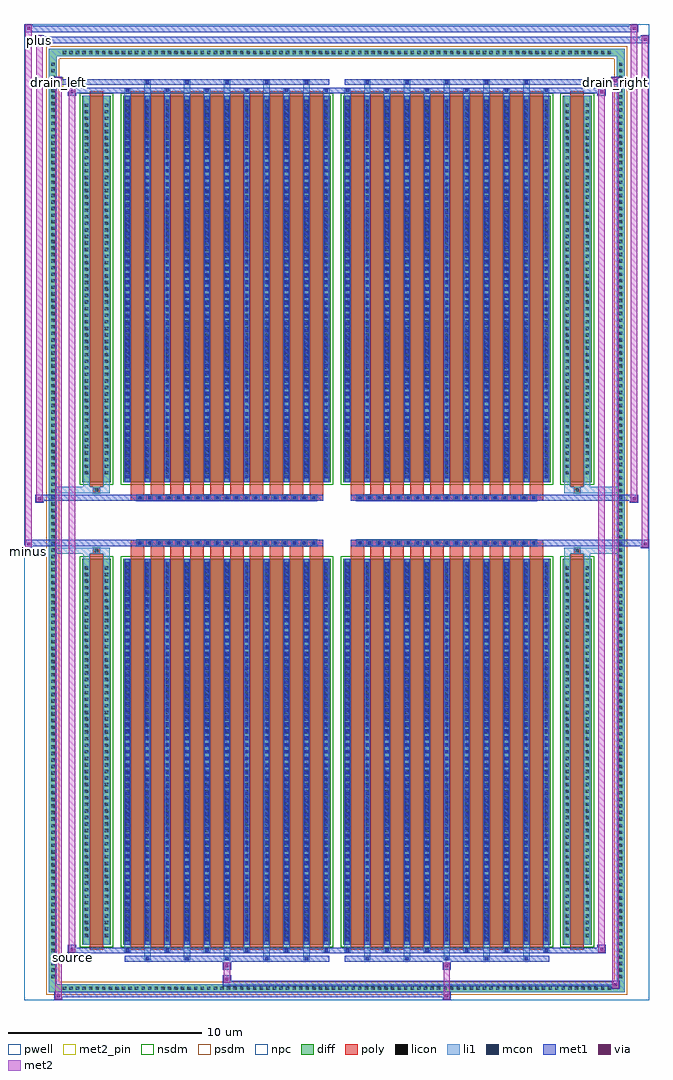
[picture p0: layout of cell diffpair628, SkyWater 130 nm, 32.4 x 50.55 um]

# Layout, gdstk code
import gdstk
lib = gdstk.Library(unit=1e-6, precision=5e-09)
def R(c, l, rs):  # rectangles x0, y0, x1, y1
    for r in rs: c.add(gdstk.rectangle(r[:2], r[2:], *l))
def A(c, l, x, y, w, h, nx, ny, dx, dy):  # array of equal rectangles
    R(c, l, [(x+i*dx, y+j*dy, x+i*dx+w, y+j*dy+h) for i in range(nx) for j in range(ny)])
def P(c, l, *ps):  # polygons
    for p in ps: c.add(gdstk.Polygon(p, *l))
pwell = (64, 44)
diff = (65, 20)
poly = (66, 20)
licon = (66, 44)
li1 = (67, 20)
mcon = (67, 44)
met1 = (68, 20)
via = (68, 44)
met2_pin = (69, 16)
met2 = (69, 20)
nsdm = (93, 44)
psdm = (94, 20)
npc = (95, 20)

diffpair628 = lib.new_cell('diffpair628')
R(diffpair628, pwell, [(-16.18,-24.84,16.18,25.71), (-13.5,-23.03,-0.01,-0.805), (0.01,-23.03,13.5,-0.805), (-13.5,0.805,-0.01,23.03), (0.01,0.805,13.5,23.03)])
A(diffpair628, diff, -14.315, -24.44, 0.41, 0.41, 84, 2, 0.34, 48.47)
A(diffpair628, diff, -14.91, -23.835, 0.41, 0.41, 1, 140, 0, 0.34)
A(diffpair628, diff, 14.5, -23.835, 0.41, 0.41, 1, 140, 0, 0.34)
R(diffpair628, diff, [(-14.315,-24.44,14.315,-24.03), (-14.91,-23.835,-14.5,23.835), (14.5,-23.835,14.91,23.835), (-13.19,-21.985,-11.71,-1.985), (-11.07,-21.985,-0.32,-1.985), (0.32,-21.985,11.07,-1.985), (11.71,-21.985,13.19,-1.985), (-13.19,1.985,-11.71,21.985), (-11.07,1.985,-0.32,21.985), (0.32,1.985,11.07,21.985), (11.71,1.985,13.19,21.985), (-14.315,24.03,14.315,24.44)])
P(diffpair628, diff, [(14.91,24.44),(-14.91,24.44),(-14.91,-24.03),(-14.5,-24.03),(-14.5,24.03),(14.5,24.03),(14.5,-24.03),(-14.5,-24.03),(-14.91,-24.03),(-14.91,-24.44),(14.91,-24.44)])
A(diffpair628, poly, -10.68, -22.235, 0.7, 20.5, 10, 2, 1.03, 23.97)
A(diffpair628, poly, 0.71, -22.235, 0.7, 20.5, 10, 2, 1.03, 23.97)
A(diffpair628, poly, -10.68, -1.735, 0.7, 0.4, 10, 2, 1.03, 3.07)
A(diffpair628, poly, 0.71, -1.735, 0.7, 0.4, 10, 2, 1.03, 3.07)
A(diffpair628, poly, -10.36, -1.335, 0.33, 0.33, 19, 2, 0.5, 2.34)
A(diffpair628, poly, 1.03, -1.335, 0.33, 0.33, 19, 2, 0.5, 2.34)
R(diffpair628, poly, [(-12.8,-22.235,-12.1,-1.735), (12.1,-22.235,12.8,-1.735), (-12.615,-1.735,-12.285,-1.405), (-12.615,-1.735,-12.285,-1.405), (12.285,-1.735,12.615,-1.405), (12.285,-1.735,12.615,-1.405), (-10.68,-1.335,-0.71,-1.005), (0.71,-1.335,10.68,-1.005), (-10.68,1.005,-0.71,1.335), (0.71,1.005,10.68,1.335), (-12.615,1.405,-12.285,1.735), (-12.615,1.405,-12.285,1.735), (12.285,1.405,12.615,1.735), (12.285,1.405,12.615,1.735), (-12.8,1.735,-12.1,22.235), (12.1,1.735,12.8,22.235)])
A(diffpair628, licon, -14.195, -24.32, 0.17, 0.17, 84, 2, 0.34, 48.47)
A(diffpair628, licon, -14.79, -23.715, 0.17, 0.17, 1, 140, 0, 0.34)
A(diffpair628, licon, 14.62, -23.715, 0.17, 0.17, 1, 140, 0, 0.34)
A(diffpair628, licon, -13.05, -21.59, 0.17, 0.17, 1, 57, 0, 0.34)
A(diffpair628, licon, -12.02, -21.59, 0.17, 0.17, 1, 57, 0, 0.34)
A(diffpair628, licon, -10.93, -21.59, 0.17, 0.17, 11, 57, 1.03, 0.34)
A(diffpair628, licon, 0.46, -21.59, 0.17, 0.17, 11, 57, 1.03, 0.34)
A(diffpair628, licon, 11.85, -21.59, 0.17, 0.17, 1, 57, 0, 0.34)
A(diffpair628, licon, 12.88, -21.59, 0.17, 0.17, 1, 57, 0, 0.34)
A(diffpair628, licon, -10.28, -1.255, 0.17, 0.17, 19, 2, 0.5, 2.34)
A(diffpair628, licon, 1.11, -1.255, 0.17, 0.17, 19, 2, 0.5, 2.34)
A(diffpair628, licon, -13.05, 2.38, 0.17, 0.17, 1, 57, 0, 0.34)
A(diffpair628, licon, -12.02, 2.38, 0.17, 0.17, 1, 57, 0, 0.34)
A(diffpair628, licon, -10.93, 2.38, 0.17, 0.17, 11, 57, 1.03, 0.34)
A(diffpair628, licon, 0.46, 2.38, 0.17, 0.17, 11, 57, 1.03, 0.34)
A(diffpair628, licon, 11.85, 2.38, 0.17, 0.17, 1, 57, 0, 0.34)
A(diffpair628, licon, 12.88, 2.38, 0.17, 0.17, 1, 57, 0, 0.34)
R(diffpair628, licon, [(-12.535,-1.655,-12.365,-1.485), (12.365,-1.655,12.535,-1.485), (-12.535,1.485,-12.365,1.655), (12.365,1.485,12.535,1.655)])
A(diffpair628, li1, -14.275, -24.4, 0.33, 0.33, 84, 2, 0.34, 48.47)
A(diffpair628, li1, -14.87, -23.795, 0.33, 0.33, 1, 140, 0, 0.34)
A(diffpair628, li1, 14.54, -23.795, 0.33, 0.33, 1, 140, 0, 0.34)
A(diffpair628, li1, -9.98, -22.79, 0.33, 0.805, 5, 2, 2.06, 44.775)
A(diffpair628, li1, -9.9, -22.79, 0.17, 0.17, 5, 2, 2.06, 45.41)
A(diffpair628, li1, 1.41, -22.79, 0.33, 0.805, 5, 2, 2.06, 44.775)
A(diffpair628, li1, 1.49, -22.79, 0.17, 0.17, 5, 2, 2.06, 45.41)
A(diffpair628, li1, -11.01, -22.36, 0.33, 0.375, 6, 2, 2.06, 44.345)
A(diffpair628, li1, -10.93, -22.36, 0.17, 0.17, 6, 2, 2.06, 44.55)
A(diffpair628, li1, 0.38, -22.36, 0.33, 0.375, 6, 2, 2.06, 44.345)
A(diffpair628, li1, 0.46, -22.36, 0.17, 0.17, 6, 2, 2.06, 44.55)
A(diffpair628, li1, -11.01, -21.985, 0.33, 20, 11, 2, 1.03, 23.97)
A(diffpair628, li1, 0.38, -21.985, 0.33, 20, 11, 2, 1.03, 23.97)
A(diffpair628, li1, -10.93, -21.79, 0.17, 0.17, 11, 55, 1.03, 0.36)
A(diffpair628, li1, -10.93, -21.79, 0.17, 19.61, 11, 2, 1.03, 23.97)
A(diffpair628, li1, 0.46, -21.79, 0.17, 0.17, 11, 55, 1.03, 0.36)
A(diffpair628, li1, 0.46, -21.79, 0.17, 19.61, 11, 2, 1.03, 23.97)
A(diffpair628, li1, -13.13, -21.67, 0.33, 0.33, 1, 57, 0, 0.34)
A(diffpair628, li1, -12.1, -21.67, 0.33, 0.33, 1, 57, 0, 0.34)
A(diffpair628, li1, -11.01, -21.67, 0.33, 0.33, 11, 57, 1.03, 0.34)
A(diffpair628, li1, 0.38, -21.67, 0.33, 0.33, 11, 57, 1.03, 0.34)
A(diffpair628, li1, 11.77, -21.67, 0.33, 0.33, 1, 57, 0, 0.34)
A(diffpair628, li1, 12.8, -21.67, 0.33, 0.33, 1, 57, 0, 0.34)
A(diffpair628, li1, -10.36, -1.335, 0.33, 0.33, 19, 2, 0.5, 2.34)
A(diffpair628, li1, 1.03, -1.335, 0.33, 0.33, 19, 2, 0.5, 2.34)
A(diffpair628, li1, -10.93, 2.18, 0.17, 0.17, 11, 55, 1.03, 0.36)
A(diffpair628, li1, 0.46, 2.18, 0.17, 0.17, 11, 55, 1.03, 0.36)
A(diffpair628, li1, -13.13, 2.3, 0.33, 0.33, 1, 57, 0, 0.34)
A(diffpair628, li1, -12.1, 2.3, 0.33, 0.33, 1, 57, 0, 0.34)
A(diffpair628, li1, -11.01, 2.3, 0.33, 0.33, 11, 57, 1.03, 0.34)
A(diffpair628, li1, 0.38, 2.3, 0.33, 0.33, 11, 57, 1.03, 0.34)
A(diffpair628, li1, 11.77, 2.3, 0.33, 0.33, 1, 57, 0, 0.34)
A(diffpair628, li1, 12.8, 2.3, 0.33, 0.33, 1, 57, 0, 0.34)
R(diffpair628, li1, [(-14.91,-24.44,-14.5,-24.03), (-14.91,-24.44,-14.5,-24.03), (-14.5,-24.44,14.5,-24.03), (14.5,-24.44,14.91,-24.03), (14.5,-24.44,14.91,-24.03), (-14.91,-24.03,-14.5,24.03), (14.5,-24.03,14.91,24.03), (-13.13,-21.985,-12.8,-1.985), (-12.1,-21.985,-11.77,-1.985), (11.77,-21.985,12.1,-1.985), (12.8,-21.985,13.13,-1.985), (-13.13,-1.985,-12.8,-1.405), (-12.1,-1.985,-11.77,-1.405), (11.77,-1.985,12.1,-1.405), (12.8,-1.985,13.13,-1.405), (-14.91,-1.735,-12.615,-1.405), (-13.13,-1.735,-12.615,-1.405), (-12.615,-1.735,-12.285,-1.405), (-12.285,-1.735,-11.77,-1.405), (11.77,-1.735,12.285,-1.405), (12.285,-1.735,12.615,-1.405), (12.285,-1.735,14.91,-1.405), (12.615,-1.735,13.13,-1.405), (-14.91,1.405,-12.615,1.735), (-13.13,1.405,-12.615,1.735), (-13.13,1.405,-12.8,1.985), (-12.615,1.405,-12.285,1.735), (-12.285,1.405,-11.77,1.735), (-12.1,1.405,-11.77,1.985), (11.77,1.405,12.285,1.735), (11.77,1.405,12.1,1.985), (12.285,1.405,12.615,1.735), (12.285,1.405,14.91,1.735), (12.615,1.405,13.13,1.735), (12.8,1.405,13.13,1.985), (-13.13,1.985,-12.8,21.985), (-12.1,1.985,-11.77,21.985), (11.77,1.985,12.1,21.985), (12.8,1.985,13.13,21.985), (-14.91,24.03,-14.5,24.44), (-14.91,24.03,-14.5,24.44), (-14.5,24.03,14.5,24.44), (14.5,24.03,14.91,24.44), (14.5,24.03,14.91,24.44)])
A(diffpair628, mcon, -9.9, -22.79, 0.17, 0.17, 5, 2, 2.06, 45.41)
A(diffpair628, mcon, 1.49, -22.79, 0.17, 0.17, 5, 2, 2.06, 45.41)
A(diffpair628, mcon, -10.93, -22.36, 0.17, 0.17, 6, 2, 2.06, 44.55)
A(diffpair628, mcon, 0.46, -22.36, 0.17, 0.17, 6, 2, 2.06, 44.55)
A(diffpair628, mcon, -10.93, -21.79, 0.17, 0.17, 11, 55, 1.03, 0.36)
A(diffpair628, mcon, 0.46, -21.79, 0.17, 0.17, 11, 55, 1.03, 0.36)
A(diffpair628, mcon, -10.28, -1.255, 0.17, 0.17, 19, 2, 0.5, 2.34)
A(diffpair628, mcon, 1.11, -1.255, 0.17, 0.17, 19, 2, 0.5, 2.34)
A(diffpair628, mcon, -10.93, 2.18, 0.17, 0.17, 11, 55, 1.03, 0.36)
A(diffpair628, mcon, 0.46, 2.18, 0.17, 0.17, 11, 55, 1.03, 0.36)
A(diffpair628, met1, -9.96, -22.85, 0.29, 0.29, 5, 2, 2.06, 45.41)
A(diffpair628, met1, 1.43, -22.85, 0.29, 0.29, 5, 2, 2.06, 45.41)
A(diffpair628, met1, -10.99, -22.42, 0.29, 0.29, 6, 2, 2.06, 44.55)
A(diffpair628, met1, 0.4, -22.42, 0.29, 0.29, 6, 2, 2.06, 44.55)
A(diffpair628, met1, -10.99, -21.985, 0.29, 20, 11, 2, 1.03, 23.97)
A(diffpair628, met1, 0.4, -21.985, 0.29, 20, 11, 2, 1.03, 23.97)
A(diffpair628, met1, -10.99, -21.85, 0.29, 0.29, 11, 55, 1.03, 0.36)
A(diffpair628, met1, 0.4, -21.85, 0.29, 0.29, 11, 55, 1.03, 0.36)
A(diffpair628, met1, -10.34, -1.315, 0.29, 0.29, 19, 2, 0.5, 2.34)
A(diffpair628, met1, 1.05, -1.315, 0.29, 0.29, 19, 2, 0.5, 2.34)
A(diffpair628, met1, -10.99, 2.12, 0.29, 0.29, 11, 55, 1.03, 0.36)
A(diffpair628, met1, 0.4, 2.12, 0.29, 0.29, 11, 55, 1.03, 0.36)
R(diffpair628, met1, [(-14.64,-24.84,-14.21,-24.41), (5.48,-24.84,5.91,-24.41), (-14.64,-24.7,5.91,-24.41), (14.21,-24.27,14.64,-23.84), (-5.91,-24.13,14.64,-23.84), (-5.91,-23.99,-5.48,-23.56), (-5.91,-23.28,-5.48,-22.85), (5.48,-23.28,5.91,-22.85), (-10.99,-22.85,-0.4,-22.56), (0.4,-22.85,10.99,-22.56), (-13.93,-22.42,-13.5,-21.99), (-13.93,-22.42,-10.99,-22.13), (-10.99,-22.42,-0.4,-22.13), (-0.4,-22.42,0.4,-22.13), (0.4,-22.42,10.99,-22.13), (10.99,-22.42,13.93,-22.13), (13.5,-22.42,13.93,-21.99), (-16.18,-1.435,-15.75,-1.005), (15.75,-1.435,16.18,-1.005), (-16.18,-1.335,-0.71,-1.005), (-10.68,-1.335,-0.71,-1.005), (0.71,-1.335,10.68,-1.005), (0.71,-1.335,16.18,-1.005), (-15.61,0.905,-15.18,1.335), (15.18,0.905,15.61,1.335), (-15.61,1.005,-10.68,1.335), (-10.68,1.005,-0.71,1.335), (0.71,1.005,10.68,1.335), (10.68,1.005,15.61,1.335), (-13.93,21.99,-13.5,22.42), (13.5,21.99,13.93,22.42), (-13.93,22.13,-10.99,22.42), (-10.99,22.13,-0.4,22.42), (-0.4,22.13,0.4,22.42), (0.4,22.13,10.99,22.42), (10.99,22.13,13.93,22.42), (-14.64,22.56,-14.21,22.99), (-14.64,22.56,-10.99,22.85), (-10.99,22.56,-0.4,22.85), (0.4,22.56,10.99,22.85), (10.99,22.56,14.64,22.85), (14.21,22.56,14.64,22.99), (-15.61,24.71,-15.18,25.14), (-15.61,24.71,-13.5,25.04), (-13.5,24.71,13.5,25.04), (13.5,24.71,16.18,25.04), (15.75,24.71,16.18,25.14), (-16.18,25.28,-15.75,25.71), (-16.18,25.28,-13.5,25.61), (-13.5,25.28,13.5,25.61), (13.5,25.28,15.61,25.61), (15.18,25.28,15.61,25.71)])
R(diffpair628, via, [(-14.5,-24.7,-14.35,-24.55), (5.62,-24.7,5.77,-24.55), (14.35,-24.13,14.5,-23.98), (-5.77,-23.85,-5.62,-23.7), (-5.77,-23.14,-5.62,-22.99), (5.62,-23.14,5.77,-22.99), (-13.79,-22.28,-13.64,-22.13), (13.64,-22.28,13.79,-22.13), (-16.04,-1.295,-15.89,-1.145), (15.89,-1.295,16.04,-1.145), (-15.47,1.045,-15.32,1.195), (15.32,1.045,15.47,1.195), (-13.79,22.13,-13.64,22.28), (13.64,22.13,13.79,22.28), (-14.5,22.7,-14.35,22.85), (14.35,22.7,14.5,22.85), (-15.47,24.85,-15.32,25), (15.89,24.85,16.04,25), (-16.04,25.42,-15.89,25.57), (15.32,25.42,15.47,25.57)])
R(diffpair628, met2_pin, [(-13.965,-22.87,-13.465,-22.37), (-16.215,-1.885,-15.715,-1.385), (-14.675,22.44,-14.175,22.94), (14.175,22.44,14.675,22.94), (-15.645,24.59,-15.145,25.09)])
R(diffpair628, met2, [(-14.59,-24.79,-14.26,-24.46), (-14.59,-24.79,-14.26,22.94), (5.53,-24.79,5.86,-24.46), (5.53,-24.46,5.86,-23.23), (14.26,-24.22,14.59,-23.89), (14.26,-24.22,14.59,22.94), (-5.86,-23.94,-5.53,-23.61), (-5.86,-23.61,-5.53,-23.23), (-5.86,-23.23,-5.53,-22.9), (5.53,-23.23,5.86,-22.9), (-13.88,-22.37,-13.55,-22.04), (-13.88,-22.37,-13.55,22.37), (13.55,-22.37,13.88,-22.04), (13.55,-22.37,13.88,22.37), (-16.13,-1.385,-15.8,-1.055), (-16.13,-1.385,-15.8,25.66), (15.8,-1.385,16.13,-1.055), (15.8,-1.385,16.13,25.09), (-15.56,0.955,-15.23,1.285), (-15.56,0.955,-15.23,25.09), (15.23,0.955,15.56,1.285), (15.23,0.955,15.56,25.66), (-13.88,22.04,-13.55,22.37), (13.55,22.04,13.88,22.37), (-14.59,22.61,-14.26,22.94), (14.26,22.61,14.59,22.94), (-15.56,24.76,-15.23,25.09), (15.8,24.76,16.13,25.09), (-16.13,25.33,-15.8,25.66), (15.23,25.33,15.56,25.66)])
P(diffpair628, met2, [(16.13,-1.385),(16.13,-1.385),(16.13,-1.055),(16.13,-1.055)],
  [(16.13,24.76),(16.13,24.76),(16.13,25.09),(16.13,25.09)],
  [(-15.8,-1.385),(-15.8,-1.385),(-15.8,-1.055),(-15.8,-1.055)],
  [(-15.8,25.33),(-15.8,25.33),(-15.8,25.66),(-15.8,25.66)],
  [(15.56,0.955),(15.56,0.955),(15.56,1.285),(15.56,1.285)],
  [(15.56,25.33),(15.56,25.33),(15.56,25.66),(15.56,25.66)],
  [(-15.23,0.955),(-15.23,0.955),(-15.23,1.285),(-15.23,1.285)],
  [(-15.23,24.76),(-15.23,24.76),(-15.23,25.09),(-15.23,25.09)],
  [(-14.26,-24.79),(-14.26,-24.79),(-14.26,-24.46),(-14.26,-24.46)],
  [(-14.26,22.61),(-14.26,22.61),(-14.26,22.94),(-14.26,22.94)],
  [(14.59,-24.22),(14.59,-24.22),(14.59,-23.89),(14.59,-23.89)],
  [(14.59,22.61),(14.59,22.61),(14.59,22.94),(14.59,22.94)],
  [(-13.55,-22.37),(-13.55,-22.37),(-13.55,-22.04),(-13.55,-22.04)],
  [(-13.55,22.04),(-13.55,22.04),(-13.55,22.37),(-13.55,22.37)],
  [(13.88,-22.37),(13.88,-22.37),(13.88,-22.04),(13.88,-22.04)],
  [(13.88,22.04),(13.88,22.04),(13.88,22.37),(13.88,22.37)])
R(diffpair628, nsdm, [(-13.32,-22.115,-11.58,-1.855), (-11.2,-22.115,-0.19,-1.855), (0.19,-22.115,11.2,-1.855), (11.58,-22.115,13.32,-1.855), (-13.32,1.855,-11.58,22.115), (-11.2,1.855,-0.19,22.115), (0.19,1.855,11.2,22.115), (11.58,1.855,13.32,22.115)])
P(diffpair628, psdm, [(15.04,24.57),(-15.04,24.57),(-15.04,-23.9),(-14.37,-23.9),(-14.37,23.9),(14.37,23.9),(14.37,-23.9),(-14.37,-23.9),(-15.04,-23.9),(-15.04,-24.57),(15.04,-24.57)])
A(diffpair628, npc, -10.38, -1.355, 0.37, 0.37, 19, 2, 0.5, 2.34)
A(diffpair628, npc, 1.01, -1.355, 0.37, 0.37, 19, 2, 0.5, 2.34)
R(diffpair628, npc, [(-12.635,-1.755,-12.265,-1.385), (12.265,-1.755,12.635,-1.385), (-10.38,-1.355,-9.51,-0.985), (-10.38,-1.355,-9.51,-0.985), (-9.88,-1.355,-9.01,-0.985), (-9.88,-1.355,-9.01,-0.985), (-9.38,-1.355,-8.51,-0.985), (-9.38,-1.355,-8.51,-0.985), (-8.88,-1.355,-8.01,-0.985), (-8.88,-1.355,-8.01,-0.985), (-8.38,-1.355,-7.51,-0.985), (-8.38,-1.355,-7.51,-0.985), (-7.88,-1.355,-7.01,-0.985), (-7.88,-1.355,-7.01,-0.985), (-7.38,-1.355,-6.51,-0.985), (-7.38,-1.355,-6.51,-0.985), (-6.88,-1.355,-6.01,-0.985), (-6.88,-1.355,-6.01,-0.985), (-6.38,-1.355,-5.51,-0.985), (-6.38,-1.355,-5.51,-0.985), (-5.88,-1.355,-5.01,-0.985), (-5.88,-1.355,-5.01,-0.985), (-5.38,-1.355,-4.51,-0.985), (-5.38,-1.355,-4.51,-0.985), (-4.88,-1.355,-4.01,-0.985), (-4.88,-1.355,-4.01,-0.985), (-4.38,-1.355,-3.51,-0.985), (-4.38,-1.355,-3.51,-0.985), (-3.88,-1.355,-3.01,-0.985), (-3.88,-1.355,-3.01,-0.985), (-3.38,-1.355,-2.51,-0.985), (-3.38,-1.355,-2.51,-0.985), (-2.88,-1.355,-2.01,-0.985), (-2.88,-1.355,-2.01,-0.985), (-2.38,-1.355,-1.51,-0.985), (-2.38,-1.355,-1.51,-0.985), (-1.88,-1.355,-1.01,-0.985), (-1.88,-1.355,-1.01,-0.985), (1.01,-1.355,1.88,-0.985), (1.01,-1.355,1.88,-0.985), (1.51,-1.355,2.38,-0.985), (1.51,-1.355,2.38,-0.985), (2.01,-1.355,2.88,-0.985), (2.01,-1.355,2.88,-0.985), (2.51,-1.355,3.38,-0.985), (2.51,-1.355,3.38,-0.985), (3.01,-1.355,3.88,-0.985), (3.01,-1.355,3.88,-0.985), (3.51,-1.355,4.38,-0.985), (3.51,-1.355,4.38,-0.985), (4.01,-1.355,4.88,-0.985), (4.01,-1.355,4.88,-0.985), (4.51,-1.355,5.38,-0.985), (4.51,-1.355,5.38,-0.985), (5.01,-1.355,5.88,-0.985), (5.01,-1.355,5.88,-0.985), (5.51,-1.355,6.38,-0.985), (5.51,-1.355,6.38,-0.985), (6.01,-1.355,6.88,-0.985), (6.01,-1.355,6.88,-0.985), (6.51,-1.355,7.38,-0.985), (6.51,-1.355,7.38,-0.985), (7.01,-1.355,7.88,-0.985), (7.01,-1.355,7.88,-0.985), (7.51,-1.355,8.38,-0.985), (7.51,-1.355,8.38,-0.985), (8.01,-1.355,8.88,-0.985), (8.01,-1.355,8.88,-0.985), (8.51,-1.355,9.38,-0.985), (8.51,-1.355,9.38,-0.985), (9.01,-1.355,9.88,-0.985), (9.01,-1.355,9.88,-0.985), (9.51,-1.355,10.38,-0.985), (9.51,-1.355,10.38,-0.985), (-10.38,0.985,-9.51,1.355), (-10.38,0.985,-9.51,1.355), (-9.88,0.985,-9.01,1.355), (-9.88,0.985,-9.01,1.355), (-9.38,0.985,-8.51,1.355), (-9.38,0.985,-8.51,1.355), (-8.88,0.985,-8.01,1.355), (-8.88,0.985,-8.01,1.355), (-8.38,0.985,-7.51,1.355), (-8.38,0.985,-7.51,1.355), (-7.88,0.985,-7.01,1.355), (-7.88,0.985,-7.01,1.355), (-7.38,0.985,-6.51,1.355), (-7.38,0.985,-6.51,1.355), (-6.88,0.985,-6.01,1.355), (-6.88,0.985,-6.01,1.355), (-6.38,0.985,-5.51,1.355), (-6.38,0.985,-5.51,1.355), (-5.88,0.985,-5.01,1.355), (-5.88,0.985,-5.01,1.355), (-5.38,0.985,-4.51,1.355), (-5.38,0.985,-4.51,1.355), (-4.88,0.985,-4.01,1.355), (-4.88,0.985,-4.01,1.355), (-4.38,0.985,-3.51,1.355), (-4.38,0.985,-3.51,1.355), (-3.88,0.985,-3.01,1.355), (-3.88,0.985,-3.01,1.355), (-3.38,0.985,-2.51,1.355), (-3.38,0.985,-2.51,1.355), (-2.88,0.985,-2.01,1.355), (-2.88,0.985,-2.01,1.355), (-2.38,0.985,-1.51,1.355), (-2.38,0.985,-1.51,1.355), (-1.88,0.985,-1.01,1.355), (-1.88,0.985,-1.01,1.355), (1.01,0.985,1.88,1.355), (1.01,0.985,1.88,1.355), (1.51,0.985,2.38,1.355), (1.51,0.985,2.38,1.355), (2.01,0.985,2.88,1.355), (2.01,0.985,2.88,1.355), (2.51,0.985,3.38,1.355), (2.51,0.985,3.38,1.355), (3.01,0.985,3.88,1.355), (3.01,0.985,3.88,1.355), (3.51,0.985,4.38,1.355), (3.51,0.985,4.38,1.355), (4.01,0.985,4.88,1.355), (4.01,0.985,4.88,1.355), (4.51,0.985,5.38,1.355), (4.51,0.985,5.38,1.355), (5.01,0.985,5.88,1.355), (5.01,0.985,5.88,1.355), (5.51,0.985,6.38,1.355), (5.51,0.985,6.38,1.355), (6.01,0.985,6.88,1.355), (6.01,0.985,6.88,1.355), (6.51,0.985,7.38,1.355), (6.51,0.985,7.38,1.355), (7.01,0.985,7.88,1.355), (7.01,0.985,7.88,1.355), (7.51,0.985,8.38,1.355), (7.51,0.985,8.38,1.355), (8.01,0.985,8.88,1.355), (8.01,0.985,8.88,1.355), (8.51,0.985,9.38,1.355), (8.51,0.985,9.38,1.355), (9.01,0.985,9.88,1.355), (9.01,0.985,9.88,1.355), (9.51,0.985,10.38,1.355), (9.51,0.985,10.38,1.355), (-12.635,1.385,-12.265,1.755), (12.265,1.385,12.635,1.755)])
diffpair628.add(gdstk.Label('minus', (-15.965,-1.635), layer=69, texttype=5))
diffpair628.add(gdstk.Label('drain_right', (14.425,22.69), layer=69, texttype=5))
diffpair628.add(gdstk.Label('drain_left', (-14.425,22.69), layer=69, texttype=5))
diffpair628.add(gdstk.Label('source', (-13.715,-22.62), layer=69, texttype=5))
diffpair628.add(gdstk.Label('plus', (-15.395,24.84), layer=69, texttype=5))

lib.write_gds('diffpair628.gds')
